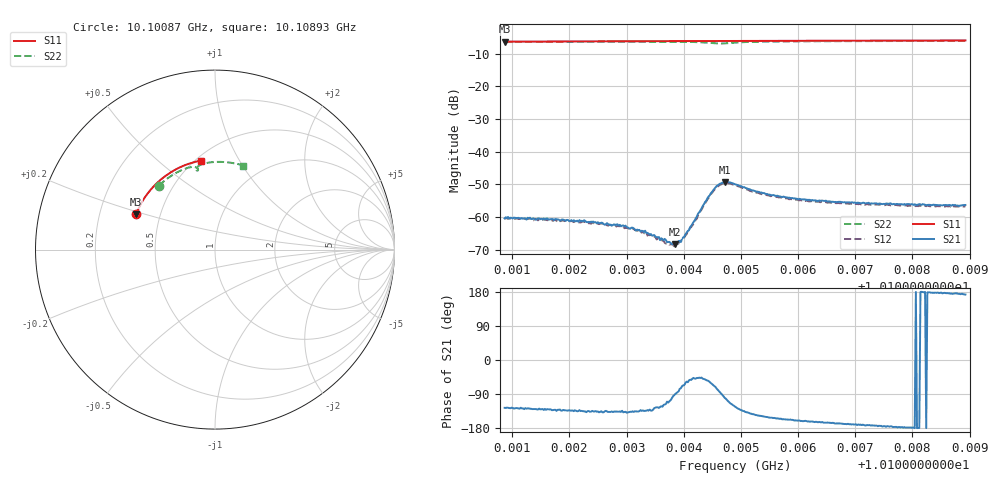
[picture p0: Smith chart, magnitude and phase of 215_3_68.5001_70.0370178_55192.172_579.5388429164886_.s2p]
#  HZ  S  RI  R  50.00
! Rohde & Schwarz Vector Network Analyzer
! Rohde-Schwarz,ZNB20-2Port,1311601062101988,3.16
! Created: UTC 3/20/2024, 4:58:12 PM
! freq[Hz]  re:S11  im:S11  re:S21  im:S21  re:S12  im:S12  re:S22  im:S22
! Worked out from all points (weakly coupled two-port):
!   401 points, 10.10087 GHz to 10.10893 GHz, reference 50 ohm
!   highest |S21| = -49.31 dB at 10.10472 GHz (marker M1); lowest = -68.4 dB at 10.10385 GHz (marker M2)
!   lowest |S11| = -6.4 dB at 10.10087 GHz (marker M3), VSWR 2.86, Z = 18.2 + j9.28 ohm
!   |S11| at or under -10 dB: nowhere
!   |S22| runs from -6.9 to -6.1 dB; largest |S21 - S12| = 0.00035
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1.0100867e10  -0.4396 0.196  -0.000559 -0.000764  -0.000482 -0.000795  -0.3116 0.3571
1.010129e10  -0.4298 0.2198  -0.000583 -0.000755  -0.000532 -0.000766  -0.2913 0.3756
1.0102217e10  -0.4037 0.27  -0.000608 -0.000625  -0.00054 -0.000634  -0.2432 0.4117
1.0102963e10  -0.3789 0.3076  -0.000527 -0.000489  -0.000449 -0.000499  -0.2003 0.4359
1.0103305e10  -0.3661 0.3241  -0.000409 -0.00042  -0.000357 -0.000437  -0.1793 0.4457
1.0103567e10  -0.3561 0.3364  -0.000291 -0.000394  -0.000236 -0.000402  -0.1622 0.4522
1.0103708e10  -0.3505 0.3429  -0.000139 -0.000386  -0.000123 -0.000374  -0.1524 0.4554
1.0103789e10  -0.3471 0.3465  -8.05e-05 -0.000378  -5.38e-05 -0.000375  -0.1467 0.4568
1.0103849e10  -0.3446 0.3492  -1e-06 -0.00038  2.42e-05 -0.000386  -0.1424 0.4581
1.010391e10  -0.342 0.3517  5.45e-05 -0.000425  7.62e-05 -0.000383  -0.1379 0.459
1.0104011e10  -0.3379 0.3564  0.000202 -0.000455  0.000253 -0.000415  -0.1302 0.4603
1.0104192e10  -0.33 0.3641  0.000579 -0.000666  0.000614 -0.000577  -0.1153 0.4604
1.0104373e10  -0.3221 0.3717  0.00105 -0.00131  0.00109 -0.00117  -0.1005 0.4555
1.0104514e10  -0.3159 0.3775  0.00104 -0.00232  0.00123 -0.00213  -0.094 0.4464
1.0104615e10  -0.3115 0.3814  0.000442 -0.0031  0.000665 -0.00294  -0.0962 0.4404
1.0104716e10  -0.3068 0.3855  -0.000579 -0.00337  -0.000245 -0.00326  -0.1016 0.4412
1.0104897e10  -0.2986 0.3927  -0.00171 -0.00265  -0.00144 -0.00273  -0.1025 0.4541
1.0105381e10  -0.2755 0.4109  -0.00197 -0.00121  -0.00177 -0.00131  -0.0717 0.476
1.0105683e10  -0.2606 0.4214  -0.00186 -0.00086  -0.00173 -0.000995  -0.0506 0.482
1.0106247e10  -0.2316 0.4393  -0.00173 -0.000551  -0.00161 -0.000681  -0.0124 0.4872
1.0107597e10  -0.1577 0.4742  -0.0016 -0.000118  -0.00151 -0.000248  0.0755 0.4856
1.0108927e10  -0.0803 0.4955  -0.00151 0.000191  -0.00142 5.53e-06  0.1587 0.4679
